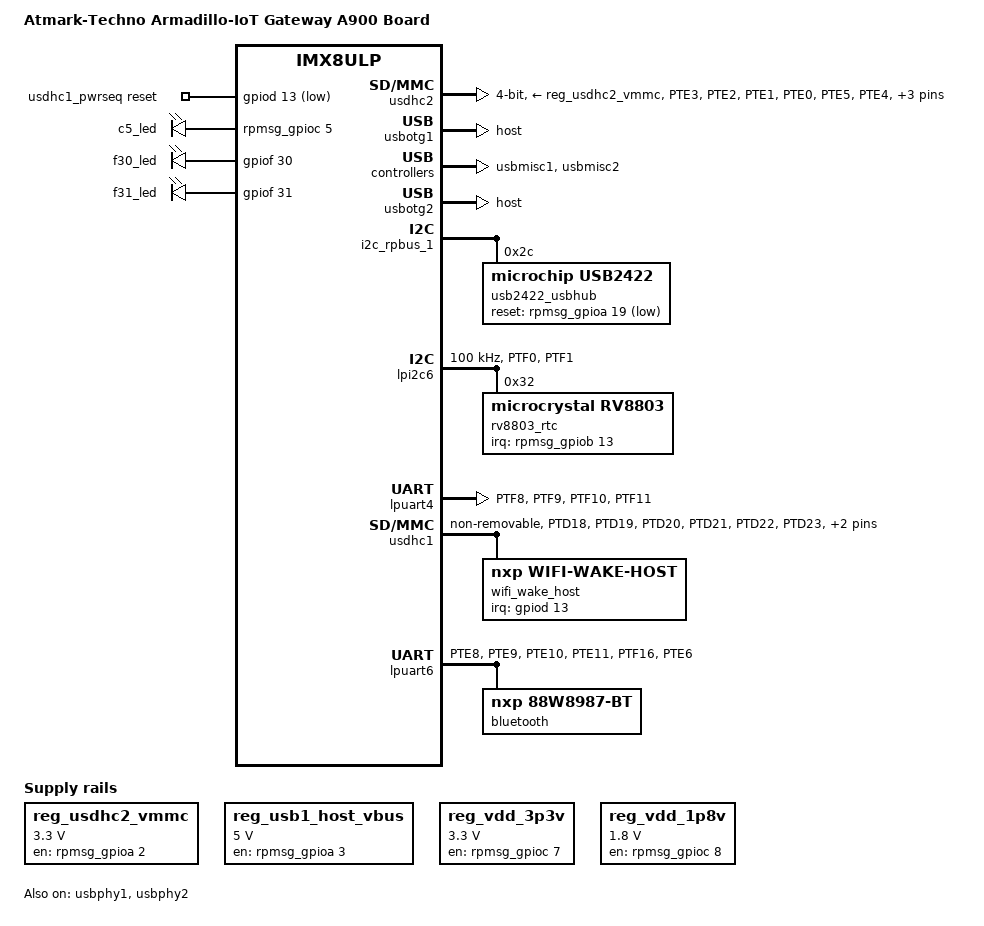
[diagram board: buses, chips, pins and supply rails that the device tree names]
// SPDX-License-Identifier: (GPL-2.0 OR MIT)
/*
 * Copyright (C) 2021 Atmark Techno, Inc. All Rights Reserved.
 */

/dts-v1/;

#include "armadillo-900.dtsi"

/ {
	model = "Atmark-Techno Armadillo-IoT Gateway A900 Board";
	compatible = "atmark,a900", "fsl,imx8ulp";

	aliases {
		gpio2 = &rpmsg_gpioc;
	};

	rpmsg_gpioc: gpio@2 {
		compatible = "fsl,imx-rpmsg-gpio";
		port_idx = <2>;
		gpio-controller;
		#gpio-cells = <2>;
		#interrupt-cells = <2>;
		interrupt-controller;
		interrupt-parent = <&rpmsg_gpioc>;
		status = "okay";
	};

	usdhc1_pwrseq: usdhc1_pwrseq {
		compatible = "mmc-pwrseq-simple";
		reset-gpios = <&gpiod 13 GPIO_ACTIVE_LOW>;
	};

//led
	leds {
		compatible = "gpio-leds";

		c5_led {
			label = "c5_led";
			gpios = <&rpmsg_gpioc 5 GPIO_ACTIVE_HIGH>;
		};

		f30_led {
			label = "f30_led";
			gpios = <&gpiof 30 GPIO_ACTIVE_HIGH>;
		};

		f31_led {
			label = "f31_led";
			gpios = <&gpiof 31 GPIO_ACTIVE_HIGH>;
		};
	};

	reg_usdhc2_vmmc: regulator-usdhc2 {
		compatible = "regulator-fixed";
		regulator-name = "VSD_3V3";
		regulator-min-microvolt = <3300000>;
		regulator-max-microvolt = <3300000>;
		gpio = <&rpmsg_gpioa 2 GPIO_ACTIVE_HIGH>;
		enable-active-high;
		regulator-always-on;
		off-on-delay-us = <100000>;
	};

	reg_usb1_host_vbus: regulator-usb1-vbus {
		compatible = "regulator-fixed";
		regulator-name = "usb1_host_vbus";
		regulator-min-microvolt = <5000000>;
		regulator-max-microvolt = <5000000>;
		gpio = <&rpmsg_gpioa 3 GPIO_ACTIVE_HIGH>;
		enable-active-high;
		regulator-always-on;
	};

//power
	reg_vdd_3p3v: regulator-vdd-3p3v {
		compatible = "regulator-fixed";
		gpio = <&rpmsg_gpioc 7 GPIO_ACTIVE_HIGH>;
		regulator-name = "VDD_3P3V";
		regulator-min-microvolt = <3300000>;
		regulator-max-microvolt = <3300000>;
		enable-active-high;
		regulator-always-on;
	};

	reg_vdd_1p8v: regulator-vdd-1p8v {
		compatible = "regulator-fixed";
		gpio = <&rpmsg_gpioc 8 GPIO_ACTIVE_HIGH>;
		regulator-name = "VDD_1P8V";
		regulator-min-microvolt = <1800000>;
		regulator-max-microvolt = <1800000>;
		enable-active-high;
		regulator-always-on;
	};
};

// SD card
&usdhc2 {
	pinctrl-names = "default", "state_100mhz", "state_200mhz", "sleep";
	pinctrl-0 = <&pinctrl_usdhc2>, <&pinctrl_usdhc2_gpio>;
	pinctrl-1 = <&pinctrl_usdhc2>, <&pinctrl_usdhc2_gpio>;
	pinctrl-2 = <&pinctrl_usdhc2>, <&pinctrl_usdhc2_gpio>;
	pinctrl-3 = <&pinctrl_usdhc2>, <&pinctrl_usdhc2_gpio>;
	cd-gpios = <&gpiof 28 GPIO_ACTIVE_LOW>;
	vmmc-supply = <&reg_usdhc2_vmmc>;
	bus-width = <4>;
	status = "okay";
};

// USB
&usbotg1 {
	dr_mode = "host";
	status = "okay";
};

&usbmisc1 {
	status = "okay";
};

&usbphy1 {
	status = "okay";
};

&usbotg2 {
	dr_mode = "host";
	status = "okay";
};

&usbphy2 {
	status = "okay";
};

&usbmisc2 {
	status = "okay";
};

// USB hub
&i2c_rpbus_1 {
	#address-cells = <1>;
	#size-cells = <0>;
	status = "okay";

	usb2422_usbhub: usb2422@2c {
		compatible = "microchip,usb2422";
		reg = <0x2c>;
		reset-gpios = <&rpmsg_gpioa 19 GPIO_ACTIVE_LOW>;
	};
};

//RTC, eeprom
&lpi2c6 {
	clock-frequency = <100000>;
	pinctrl-names = "default";
	pinctrl-0 = <&pinctrl_lpi2c6>;
	status = "okay";

	rv8803_rtc: rtc@32 {
		compatible = "microcrystal,rv8803";
		reg = <0x32>;
		interrupt-parent = <&rpmsg_gpiob>;
		interrupts = <13 GPIO_ACTIVE_LOW>;
		wakeup-source;
	};
};

// USB serial
&lpuart4 {
	pinctrl-names = "default", "sleep";
	pinctrl-0 = <&pinctrl_lpuart4>;
	pinctrl-1 = <&pinctrl_lpuart4sleep>;
	status = "okay";
};

//wlan
&usdhc1 {
	pinctrl-names = "default", "state_100mhz", "state_200mhz";
	pinctrl-0 = <&pinctrl_usdhc1>;
	pinctrl-1 = <&pinctrl_usdhc1_100mhz>;
	pinctrl-2 = <&pinctrl_usdhc1_200mhz>;
	keep-power-in-suspend;
	non-removable;
	wakeup-source;
	mmc-powerseq = <&usdhc1_pwrseq>;
	fsl,sdio-interrupt-enable;
	status = "okay";

	wifi_wake_host {
		compatible = "nxp,wifi-wake-host";
		interrupt-parent = <&gpiod>;
		interrupts = <13 IRQ_TYPE_LEVEL_LOW>;
		interrupt-names = "host-wake";
	};
};

&lpuart6 {
	pinctrl-names = "default";
	pinctrl-0 = <&pinctrl_lpuart6>;
	status = "okay";

	bluetooth {
		compatible = "nxp,88w8987-bt";
		btnxpuart,required-netdev = "mlan0";
	};
};

&iomuxc1 {
//gpio
	pinctrl-names = "default";
	pinctrl-0 = <&pinctrl_customize>;

	pinctrl_customize: customizegrp {
		fsl,pins = <
			MX8ULP_PAD_PTF30__PTF30	0x3
			MX8ULP_PAD_PTF31__PTF31	0x3
			MX8ULP_PAD_PTF24__PTF24	0x3
		>;
	};

	pinctrl_usdhc2: usdhc2grp {
		fsl,pins = <
			MX8ULP_PAD_PTE3__SDHC2_CMD	0x0
			MX8ULP_PAD_PTE2__SDHC2_CLK	0x10002
			MX8ULP_PAD_PTE1__SDHC2_D0	0x0
			MX8ULP_PAD_PTE0__SDHC2_D1	0x0
			MX8ULP_PAD_PTE5__SDHC2_D2	0x0
			MX8ULP_PAD_PTE4__SDHC2_D3	0x0
			MX8ULP_PAD_PTF29__SDHC2_VS	0x0
		>;
	};

	pinctrl_usdhc2_gpio: usdhc2grp-gpio {
		fsl,pins = <
			MX8ULP_PAD_PTF28__PTF28		0x3
		>;
	};

	pinctrl_lpi2c6: i2c6grp {
		fsl,pins = <
			MX8ULP_PAD_PTF0__LPI2C6_SCL	0x20
			MX8ULP_PAD_PTF1__LPI2C6_SDA	0x20
		>;
	};

	pinctrl_lpuart4: lpuart4grp {
		fsl,pins = <
			MX8ULP_PAD_PTF8__LPUART4_CTS_B	0x3
			MX8ULP_PAD_PTF9__LPUART4_RTS_B	0x3
			MX8ULP_PAD_PTF10__LPUART4_TX	0x3
			MX8ULP_PAD_PTF11__LPUART4_RX	0x3
		>;
	};

	pinctrl_lpuart4sleep: lpuart4sleepgrp {
		fsl,pins = <
			MX8ULP_PAD_PTF8__LPUART4_CTS_B	0x0
			MX8ULP_PAD_PTF9__LPUART4_RTS_B	0x0
			MX8ULP_PAD_PTF10__LPUART4_TX	0x0
			MX8ULP_PAD_PTF11__LPUART4_RX	0x0
		>;
	};

	pinctrl_usdhc1: usdhc1grp {
		fsl,pins = <
			MX8ULP_PAD_PTD18__SDHC1_D3	0x3
			MX8ULP_PAD_PTD19__SDHC1_D2	0x3
			MX8ULP_PAD_PTD20__SDHC1_D1	0x3
			MX8ULP_PAD_PTD21__SDHC1_D0	0x3
			MX8ULP_PAD_PTD22__SDHC1_CLK	0x10002
			MX8ULP_PAD_PTD23__SDHC1_CMD	0x3
			MX8ULP_PAD_PTD13__SDHC1_RESET_B	0x3
			MX8ULP_PAD_PTD17__PTD17		0x3
		>;
	};
	pinctrl_usdhc1_100mhz: usdhc1grp-100mhz {
		fsl,pins = <
			MX8ULP_PAD_PTD18__SDHC1_D3	0x3
			MX8ULP_PAD_PTD19__SDHC1_D2	0x3
			MX8ULP_PAD_PTD20__SDHC1_D1	0x3
			MX8ULP_PAD_PTD21__SDHC1_D0	0x3
			MX8ULP_PAD_PTD22__SDHC1_CLK	0x10002
			MX8ULP_PAD_PTD23__SDHC1_CMD	0x3
			MX8ULP_PAD_PTD13__SDHC1_RESET_B	0x3
			MX8ULP_PAD_PTD17__PTD17		0x3
		>;
	};
	pinctrl_usdhc1_200mhz: usdhc1grp-200mhz {
		fsl,pins = <
			MX8ULP_PAD_PTD18__SDHC1_D3	0x3
			MX8ULP_PAD_PTD19__SDHC1_D2	0x3
			MX8ULP_PAD_PTD20__SDHC1_D1	0x3
			MX8ULP_PAD_PTD21__SDHC1_D0	0x3
			MX8ULP_PAD_PTD22__SDHC1_CLK	0x10002
			MX8ULP_PAD_PTD23__SDHC1_CMD	0x3
			MX8ULP_PAD_PTD13__SDHC1_RESET_B	0x3
			MX8ULP_PAD_PTD17__PTD17		0x3
		>;
	};

	pinctrl_lpuart6: lpuart6grp {
		fsl,pins = <
			MX8ULP_PAD_PTE8__LPUART6_CTS_B	0x3
			MX8ULP_PAD_PTE9__LPUART6_RTS_B	0x3
			MX8ULP_PAD_PTE10__LPUART6_TX	0x3
			MX8ULP_PAD_PTE11__LPUART6_RX	0x3
			MX8ULP_PAD_PTF16__PTF16			0x3
			MX8ULP_PAD_PTE6__PTE6			0x3
		>;
	};
};
